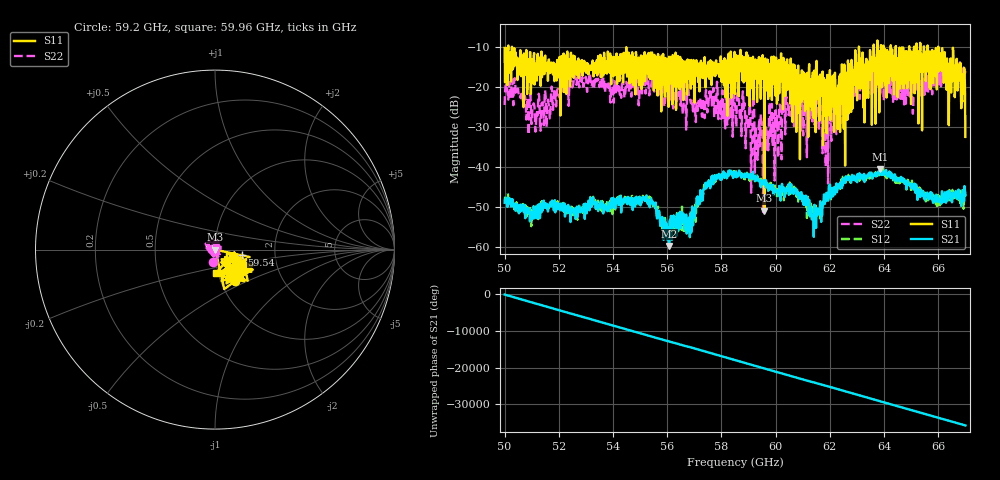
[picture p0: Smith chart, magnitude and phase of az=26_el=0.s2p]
!Created with skrf (http://scikit-rf.org).
# GHz S RI R 50.0
!freq ReS11 ImS11 ReS21 ImS21 ReS12 ImS12 ReS22 ImS22
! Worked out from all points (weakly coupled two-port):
!   1001 points, 50 GHz to 67 GHz, reference 50 ohm
!   highest |S21| = -40.39 dB at 63.86 GHz (marker M1); lowest = -59.6 dB at 56.07 GHz (marker M2)
!   lowest |S11| = -50.8 dB at 59.59 GHz (marker M3), VSWR 1.01, Z = 50.3 - j0.121 ohm
!   |S11| at or under -10 dB: 50.27 GHz to 63.07 GHz (12.8 GHz wide, 22.6 % of centre); 63.07 GHz to 63.62 GHz (541.7 MHz wide, 0.855 % of centre); 66 GHz to end of sweep (the widest 3 of 17)
!   |S22| runs from -51.2 to -13.8 dB; largest |S21 - S12| = 0.0018
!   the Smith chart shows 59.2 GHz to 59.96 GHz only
!   S11 on the Smith chart (normalised r, x): 59.2 GHz: 1.17, -0.43; 59.54 GHz: 1.35, -0.08; 59.96 GHz: 0.98, -0.26
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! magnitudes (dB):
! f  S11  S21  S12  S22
! 50 GHz  -10.2  -48.9  -48.5  -24.4
! 51.38 GHz  -17.6  -49.0  -48.5  -24.1
! 52.84 GHz  -14.2  -50.9  -50.8  -18.7
! 55.19 GHz  -18.5  -48.4  -48.4  -20.7
! 55.68 GHz  -13.5  -51.8  -52.6  -22.0
! 56.07 GHz  -12.4  -59.6  -59.7  -20.8
! 56.82 GHz  -18.0  -53.2  -52.5  -22.6
! 57.67 GHz  -13.7  -42.1  -42.7  -25.1
! 58.5 GHz  -21.7  -41.7  -41.2  -24.9
! 59.2 GHz  -13.6  -42.5  -42.6  -23.0
! 59.54 GHz  -16.3  -43.6  -44.5  -51.2
! 59.59 GHz  -50.8  -43.2  -43.9  -29.0
! 59.96 GHz  -17.7  -46.1  -44.3  -43.3
! 60.64 GHz  -14.3  -46.0  -45.2  -23.0
! 61.34 GHz  -25.8  -51.8  -49.8  -26.1
! 61.92 GHz  -17.4  -47.3  -47.4  -26.6
! 62.53 GHz  -14.3  -43.8  -42.9  -19.2
! 63.86 GHz  -12.8  -40.4  -41.2  -22.2
! 64.18 GHz  -19.1  -41.9  -41.6  -18.3
! 66.08 GHz  -15.8  -48.1  -46.7  -15.3
! 66.75 GHz  -18.5  -45.6  -48.2  -18.4
! 67 GHz  -32.4  -46.9  -47.3  -16.0
